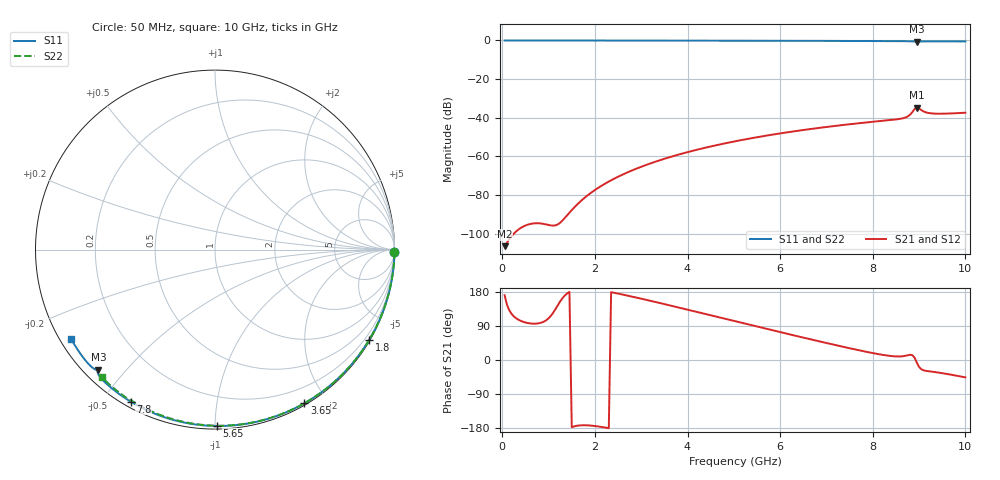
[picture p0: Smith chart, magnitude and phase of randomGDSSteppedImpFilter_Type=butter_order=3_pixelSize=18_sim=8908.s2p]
! freq	dB(S11)	phase(S11)	dB(S12)	phase(S12)
!  dB(S21)	phase(S21)	dB(S22)	phase(S22)
!S-par simulation data
#  GHz  S  DB  R 50
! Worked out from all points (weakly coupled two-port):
!   200 points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, 50 MHz to 10 GHz, reference 50 ohm
!   highest |S21| = -34.78 dB at 8.95 GHz (marker M1); lowest = -106.5 dB at 50 MHz (marker M2)
!   lowest |S11| = -0.6 dB at 8.95 GHz (marker M3), VSWR 28.53, Z = 2.06 - j21.1 ohm
!   |S11| at or under -10 dB: nowhere
!   |S22| runs from -0.4 to 0.0 dB; largest |S21 - S12| = 0
!   S11 on the Smith chart (normalised r, x): 50 MHz: open; 1.8 GHz: 0.03, -3.70; 3.65 GHz: 0.02, -1.74; 5.65 GHz: 0.02, -1.01; 7.8 GHz: 0.02, -0.59; 10 GHz: 0.03, -0.29
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0.05  -0.00 -0.9  -106.51 171.0  -106.51 171.0  -0.00 -0.8
0.85  -0.02 -14.4  -94.80 98.8  -94.80 98.8  -0.01 -12.9
1.75  -0.04 -29.4  -82.00 -172.2  -82.00 -172.2  -0.03 -26.2
1.8  -0.04 -30.3  -81.00 -172.2  -81.00 -172.2  -0.03 -27.0
1.85  -0.04 -31.1  -80.05 -172.5  -80.05 -172.5  -0.04 -27.7
2.2  -0.05 -36.8  -74.41 -177.8  -74.41 -177.8  -0.04 -32.8
2.6  -0.06 -43.3  -69.42 172.7  -69.42 172.7  -0.05 -38.6
3.4  -0.07 -56.0  -62.03 150.4  -62.03 150.4  -0.07 -49.9
3.65  -0.08 -59.8  -60.17 143.1  -60.17 143.1  -0.07 -53.4
4.3  -0.10 -69.7  -56.01 123.9  -56.01 123.9  -0.09 -62.3
5.05  -0.12 -80.8  -52.10 101.7  -52.10 101.7  -0.11 -72.3
5.65  -0.15 -89.5  -49.48 83.9  -49.48 83.9  -0.13 -80.0
6.7  -0.20 -104.1  -45.71 53.3  -45.71 53.3  -0.18 -93.2
7.8  -0.28 -119.0  -42.60 23.2  -42.60 23.2  -0.25 -106.3
8.35  -0.32 -126.5  -41.29 11.1  -41.29 11.1  -0.29 -112.8
8.6  -0.35 -129.9  -40.55 9.4  -40.55 9.4  -0.31 -115.6
8.75  -0.39 -132.2  -39.43 12.4  -39.43 12.4  -0.33 -117.3
8.9  -0.56 -134.2  -35.60 6.7  -35.60 6.7  -0.34 -119.0
8.95  -0.61 -134.2  -34.78 -6.6  -34.78 -6.6  -0.33 -119.5
9.1  -0.48 -135.6  -36.78 -27.3  -36.78 -27.3  -0.34 -121.3
9.25  -0.45 -137.7  -37.72 -30.4  -37.72 -30.4  -0.36 -123.1
10  -0.51 -148.0  -37.42 -45.9  -37.42 -45.9  -0.44 -131.6
